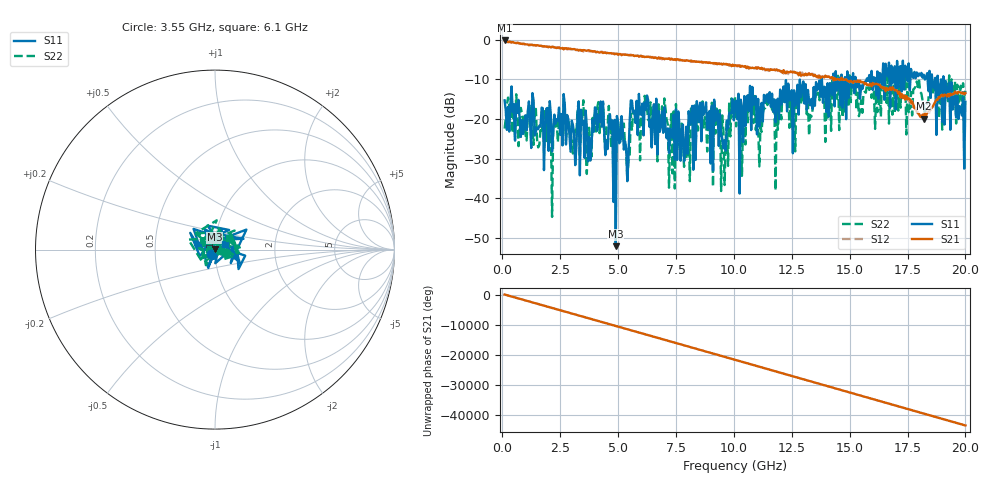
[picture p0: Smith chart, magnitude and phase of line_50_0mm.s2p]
#  HZ  S  RI  R  1.00
! Rohde & Schwarz ZVA67 4Ports - Version 4.11 - 1305.7002k04 SN: 101032
! Date: 2023-06-01 16:50:39
! Measurements: S11 S21 S12 S22
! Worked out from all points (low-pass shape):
!   399 points, 100 MHz to 20 GHz, reference 1 ohm
!   highest |S21| = -0.18 dB at 100 MHz (marker M1); lowest = -19.9 dB at 18.2 GHz (marker M2)
!   |S21| within 3 dB of the highest: start of sweep to 4.159 GHz; 4.237 GHz to 4.311 GHz (74.1 MHz wide, 1.73 % of centre)
!   lowest |S11| = -52.1 dB at 4.9 GHz (marker M3), VSWR 1.00, Z = 0.996 + j0.00218 ohm
!   |S11| at or under -10 dB: start of sweep to 13.8 GHz; 13.8 GHz to 14.29 GHz (483.4 MHz wide, 3.44 % of centre); 19.05 GHz to end of sweep (the widest 3 of 34)
!   |S22| runs from -44.7 to -8.1 dB; largest |S21 - S12| = 2
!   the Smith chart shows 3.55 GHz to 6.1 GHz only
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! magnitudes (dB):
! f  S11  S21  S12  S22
! 100 MHz  -15.3  -0.2  -0.2  -22.4
! 2.05 GHz  -15.5  -1.8  -1.9  -16.7
! 2.15 GHz  -28.2  -1.7  -1.9  -44.7
! 2.25 GHz  -18.9  -1.9  -2.0  -20.7
! 3.45 GHz  -21.4  -2.8  -2.7  -20.2
! 4.8 GHz  -41.0  -3.5  -3.4  -33.0
! 4.85 GHz  -20.2  -3.7  -3.4  -20.9
! 4.9 GHz  -52.1  -3.6  -3.5  -33.6
! 4.95 GHz  -19.3  -3.5  -3.5  -20.0
! 6.75 GHz  -18.0  -4.5  -4.6  -16.3
! 9.45 GHz  -23.9  -6.0  -6.1  -38.2
! 10.05 GHz  -15.7  -6.5  -6.5  -14.2
! 10.25 GHz  -38.8  -6.5  -6.9  -19.6
! 10.3 GHz  -15.1  -6.8  -6.5  -18.2
! 10.7 GHz  -11.6  -7.1  -6.9  -15.0
! 11.75 GHz  -15.1  -7.5  -7.6  -16.4
! 11.8 GHz  -20.8  -7.7  -7.7  -38.1
! 12.1 GHz  -13.5  -8.3  -7.7  -12.9
! 13.4 GHz  -17.5  -8.7  -8.6  -17.6
! 16.7 GHz  -5.8  -12.5  -12.8  -21.2
! 18.2 GHz  -8.8  -19.9  -19.8  -16.1
! 20 GHz  -15.7  -13.5  -13.6  -12.9
